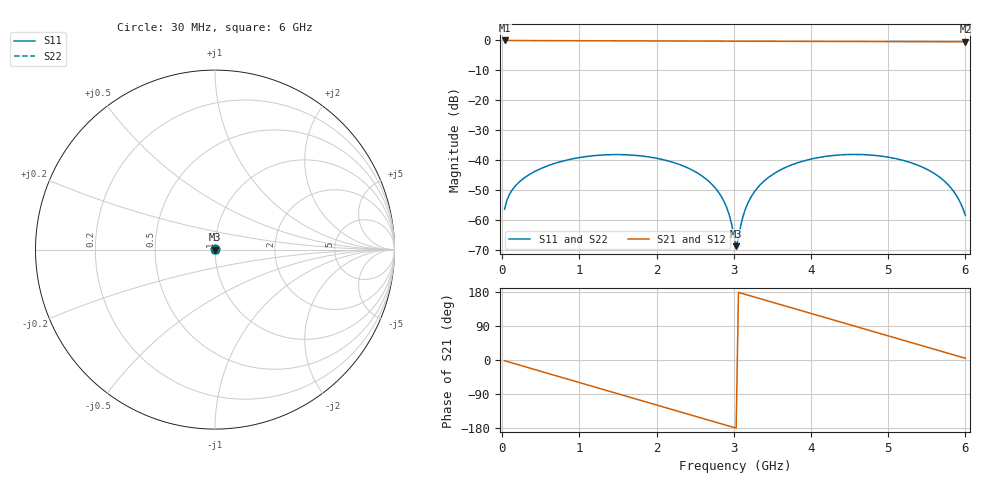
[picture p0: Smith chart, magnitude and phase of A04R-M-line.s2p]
! yapnr Order 0 O0-M: O0-M A04R M dL30 ROT (line, family M)
! stackup OSHPARK-4L-FR408HR, nominal parameters; geometry of the OSHPARK-4L-FR408HR design
! model: 2D quasi-static RLGC (Djordjevic-Sarkar, Huray roughness, Wheeler loss); generated by python -m yapnr.rf.coupons expected --stackup OSHPARK-4L-FR408HR --upload M
! reference planes 10 mm from each end; 50 ohm (from the M line's Zc)
# GHz S DB R 50
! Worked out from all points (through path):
!   200 points, 30 MHz to 6 GHz, reference 50 ohm
!   highest |S21| = -0.01 dB at 30 MHz (marker M1); lowest = -0.5 dB at 6 GHz (marker M2)
!   group delay of S21, straight-line fit = 164 ps
!   lowest |S11| = -68.6 dB at 3.03 GHz (marker M3), VSWR 1.00, Z = 50 - j0.00841 ohm
!   |S11| at or under -10 dB: start of sweep to end of sweep
!   |S22| runs from -68.6 to -38.0 dB; largest |S21 - S12| = 0
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0.03  -56.23 41.8  -0.01 -1.9  -0.01 -1.9  -56.23 41.8
0.12  -50.15 42.2  -0.03 -7.3  -0.03 -7.3  -50.15 42.2
0.33  -45.04 38.2  -0.05 -19.8  -0.05 -19.8  -45.04 38.2
0.66  -41.15 26.5  -0.08 -39.5  -0.08 -39.5  -41.15 26.5
1.05  -38.84 8.9  -0.11 -62.6  -0.11 -62.6  -38.84 8.9
1.53  -38.06 -15.1  -0.15 -91.1  -0.15 -91.1  -38.06 -15.1
2.04  -39.50 -41.8  -0.19 -121.3  -0.19 -121.3  -39.50 -41.8
2.46  -43.21 -63.6  -0.22 -146.1  -0.22 -146.1  -43.21 -63.6
2.76  -49.22 -77.1  -0.24 -163.9  -0.24 -163.9  -49.22 -77.1
2.91  -55.88 -78.3  -0.25 -172.7  -0.25 -172.7  -55.88 -78.3
2.97  -61.10 -70.0  -0.25 -176.3  -0.25 -176.3  -61.10 -70.0
3.03  -68.58 -13.1  -0.26 -179.8  -0.26 -179.8  -68.58 -13.1
3.15  -56.19 61.2  -0.27 173.1  -0.27 173.1  -56.19 61.2
3.33  -48.45 59.4  -0.28 162.4  -0.28 162.4  -48.45 59.4
3.63  -42.82 45.2  -0.30 144.7  -0.30 144.7  -42.82 45.2
4.02  -39.44 24.4  -0.33 121.6  -0.33 121.6  -39.44 24.4
4.53  -38.01 -3.7  -0.36 91.5  -0.36 91.5  -38.01 -3.7
5.01  -38.97 -30.1  -0.40 63.1  -0.40 63.1  -38.97 -30.1
5.37  -41.46 -49.2  -0.42 41.8  -0.42 41.8  -41.46 -49.2
5.67  -45.66 -63.2  -0.44 24.1  -0.44 24.1  -45.66 -63.2
5.88  -51.54 -67.7  -0.45 11.7  -0.45 11.7  -51.54 -67.7
6  -58.32 -55.3  -0.46 4.6  -0.46 4.6  -58.32 -55.3
